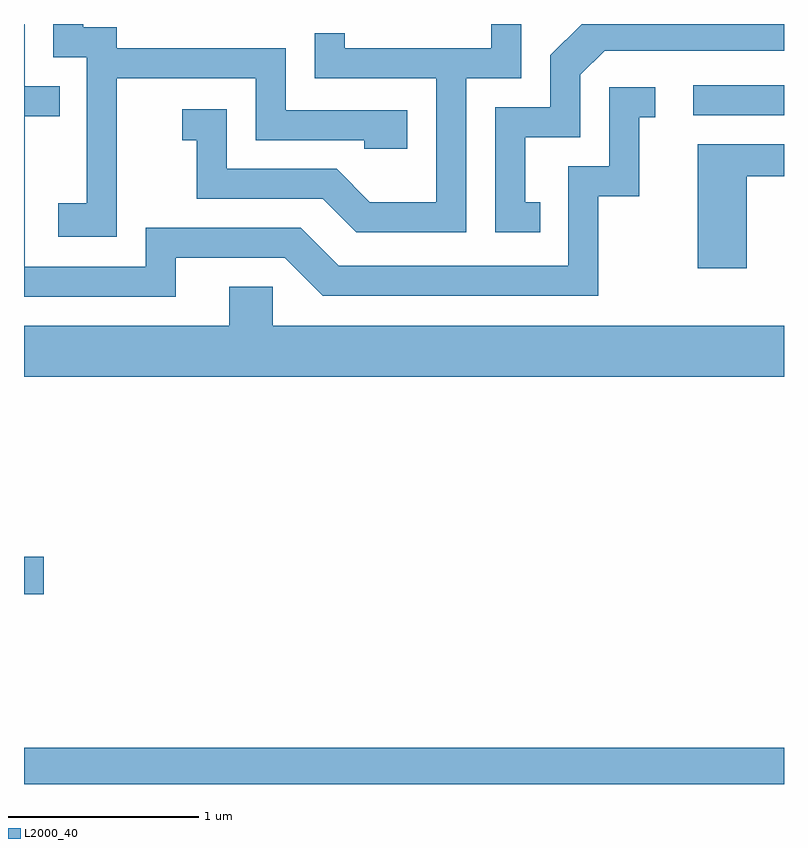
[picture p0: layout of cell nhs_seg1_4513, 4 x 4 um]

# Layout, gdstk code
import gdstk
lib = gdstk.Library(unit=1e-6, precision=1e-09)
def R(c, l, rs):  # rectangles x0, y0, x1, y1
    for r in rs: c.add(gdstk.rectangle(r[:2], r[2:], *l))
def P(c, l, *ps):  # polygons
    for p in ps: c.add(gdstk.Polygon(p, *l))
L2000_40 = (2000, 40)

nhs_seg1_4513 = lib.new_cell('nhs_seg1_4513')
R(nhs_seg1_4513, L2000_40, [(321.611,839.712,325.611,839.904), (321.611,840.711,321.714,840.909), (325.133,843.231,325.611,843.389)])
P(nhs_seg1_4513, L2000_40, [(322.409,842.481),(322.984,842.481),(323.184,842.281),(324.634,842.281),(324.634,842.806),(324.849,842.806),(324.849,843.221),(324.933,843.221),(324.933,843.379),(324.691,843.379),(324.691,842.964),(324.476,842.964),(324.476,842.439),(323.267,842.439),(323.067,842.639),(322.251,842.639),(322.251,842.434),(321.614,842.434),(321.614,843.226),(321.798,843.226),(321.798,843.384),(321.614,843.384),(321.614,843.712),(321.611,843.712),(321.611,842.276),(322.409,842.276)],
  [(322.099,843.426),(322.831,843.426),(322.831,843.101),(323.401,843.101),(323.401,843.056),(323.629,843.056),(323.629,843.259),(322.989,843.259),(322.989,843.584),(322.099,843.584),(322.099,843.694),(321.924,843.694),(321.924,843.712),(321.766,843.712),(321.766,843.536),(321.941,843.536),(321.941,842.769),(321.791,842.769),(321.791,842.591),(322.099,842.591)],
  [(323.939,843.426),(324.229,843.426),(324.229,843.712),(324.071,843.712),(324.071,843.584),(323.299,843.584),(323.299,843.663),(323.141,843.663),(323.141,843.426),(323.781,843.426),(323.781,842.774),(323.432,842.774),(323.257,842.949),(322.679,842.949),(322.679,843.264),(322.443,843.264),(322.443,843.101),(322.521,843.101),(322.521,842.791),(323.184,842.791),(323.359,842.616),(323.939,842.616)],
  [(324.328,842.774),(324.249,842.774),(324.249,843.116),(324.539,843.116),(324.539,843.444),(324.667,843.571),(325.611,843.571),(325.611,843.712),(324.547,843.712),(324.381,843.547),(324.381,843.274),(324.091,843.274),(324.091,842.616),(324.328,842.616)],
  [(325.414,842.911),(325.611,842.911),(325.611,843.079),(325.156,843.079),(325.156,842.426),(325.414,842.426)],
  [(325.611,842.124),(322.919,842.124),(322.919,842.329),(322.691,842.329),(322.691,842.124),(321.611,842.124),(321.611,841.856),(325.611,841.856)])

lib.write_gds('nhs_seg1_4513.gds')
